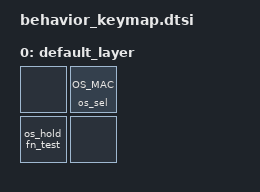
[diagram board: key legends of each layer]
#include <dt-bindings/zmk/keys.h>
#include <behaviors.dtsi>
#include <dt-bindings/zmk/kscan_mock.h>
#include <dt-bindings/zmk/oskey.h>

/ {
    behaviors {
        os_sel: os_selector {
            compatible = "zmk,behavior-os-selector";
            #binding-cells = <1>;
        };

        hold_fn_test: hold_fn_test {
            compatible = "zmk,behavior-hold-fn";
            #binding-cells = <0>;
            bindings = <&kp GLOBE>, <&kp LC(LEFT)>;
        };

        os_hold_fn_test: os_key_hold_fn_test {
            compatible = "zmk,behavior-os-key";
            #binding-cells = <0>;
            /* Windows: W  macOS: GLOBE+Ctrl+Left  Linux: L */
            bindings = <&kp W>, <&hold_fn_test>, <&kp L>;
        };
    };

    keymap {
        compatible = "zmk,keymap";

        default_layer {
            bindings = <
                &none            &os_sel OS_MAC
                &os_hold_fn_test &none
            >;
        };
    };
};
